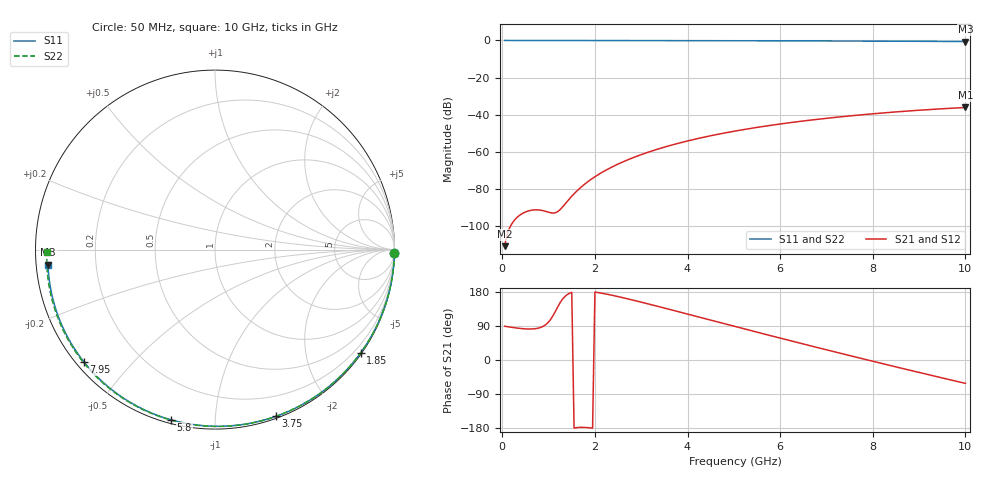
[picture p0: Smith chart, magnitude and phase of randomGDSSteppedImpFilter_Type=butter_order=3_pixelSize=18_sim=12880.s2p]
! freq	dB(S11)	phase(S11)	dB(S12)	phase(S12)
!  dB(S21)	phase(S21)	dB(S22)	phase(S22)
!S-par simulation data
#  GHz  S  DB  R 50
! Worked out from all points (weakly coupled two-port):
!   200 points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, 50 MHz to 10 GHz, reference 50 ohm
!   highest |S21| = -36.05 dB at 10 GHz (marker M1); lowest = -110.7 dB at 50 MHz (marker M2)
!   lowest |S11| = -0.6 dB at 10 GHz (marker M3), VSWR 29.45, Z = 1.7 - j2.27 ohm
!   |S11| at or under -10 dB: nowhere
!   |S22| runs from -0.6 to 0.0 dB; largest |S21 - S12| = 0
!   S11 on the Smith chart (normalised r, x): 50 MHz: open; 1.85 GHz: 0.03, -3.13; 3.75 GHz: 0.02, -1.43; 5.8 GHz: 0.02, -0.77; 7.95 GHz: 0.02, -0.37; 10 GHz: 0.03, -0.05
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0.05  -0.00 -1.0  -110.66 89.0  -110.66 89.0  -0.00 -1.1
0.4  -0.01 -7.8  -93.59 83.1  -93.59 83.1  -0.01 -8.5
0.8  -0.02 -15.5  -91.20 84.8  -91.20 84.8  -0.02 -16.9
1.2  -0.03 -23.2  -92.00 141.0  -92.00 141.0  -0.03 -25.2
1.65  -0.04 -31.7  -80.04 -177.9  -80.04 -177.9  -0.04 -34.4
1.75  -0.04 -33.5  -77.87 -177.7  -77.87 -177.7  -0.05 -36.4
1.85  -0.04 -35.4  -75.92 -178.4  -75.92 -178.4  -0.05 -38.5
2  -0.05 -38.2  -73.31 179.3  -73.31 179.3  -0.05 -41.5
2.15  -0.05 -41.0  -71.01 176.3  -71.01 176.3  -0.06 -44.5
2.5  -0.06 -47.5  -66.48 167.3  -66.48 167.3  -0.07 -51.4
2.9  -0.07 -54.7  -62.32 155.7  -62.32 155.7  -0.08 -59.2
3.4  -0.08 -63.7  -58.12 140.3  -58.12 140.3  -0.09 -68.7
3.75  -0.10 -69.8  -55.65 129.2  -55.65 129.2  -0.10 -75.2
4.4  -0.12 -81.1  -51.78 108.4  -51.78 108.4  -0.12 -86.9
5.05  -0.14 -92.1  -48.63 87.7  -48.63 87.7  -0.15 -98.3
5.8  -0.18 -104.5  -45.64 64.0  -45.64 64.0  -0.19 -111.0
6.7  -0.24 -119.1  -42.72 36.1  -42.72 36.1  -0.24 -125.7
7.35  -0.29 -129.6  -40.96 16.2  -40.96 16.2  -0.29 -136.2
7.95  -0.34 -139.4  -39.56 -1.8  -39.56 -1.8  -0.34 -145.8
8.35  -0.38 -146.0  -38.73 -13.7  -38.73 -13.7  -0.38 -152.2
9.2  -0.48 -160.4  -37.20 -38.7  -37.20 -38.7  -0.47 -165.9
10  -0.59 -174.8  -36.05 -61.7  -36.05 -61.7  -0.56 -179.2
